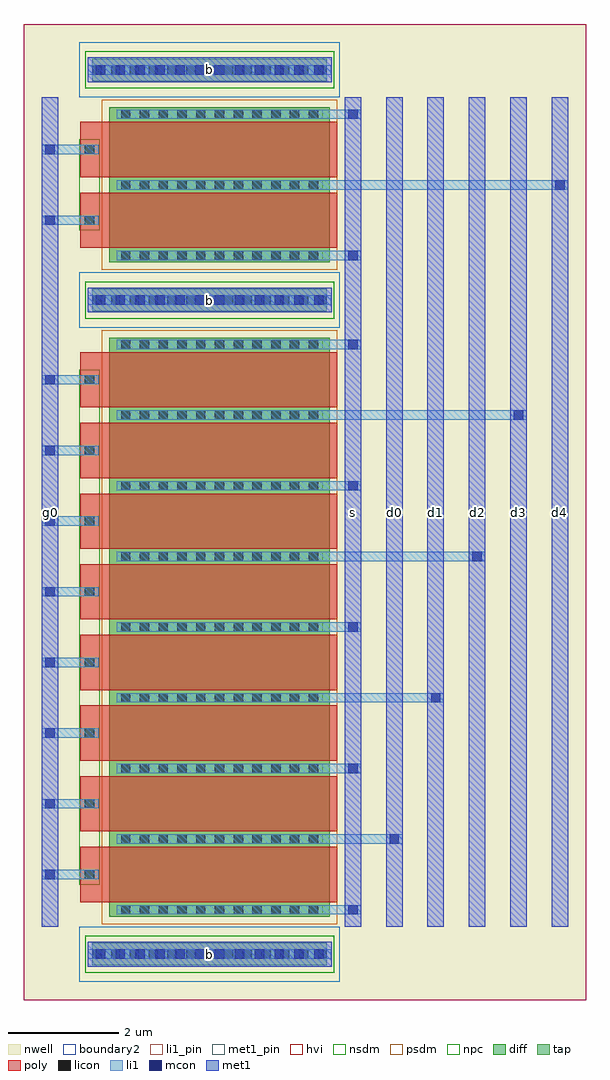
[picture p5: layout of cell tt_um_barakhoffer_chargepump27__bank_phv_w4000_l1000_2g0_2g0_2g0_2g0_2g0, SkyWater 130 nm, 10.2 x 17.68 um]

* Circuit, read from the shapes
.subckt tt_um_barakhoffer_chargepump27__bank_phv_w4000_l1000_2g0_2g0_2g0_2g0_2g0 b d0 d1 d2 d3 d4 g0 s
XM1 d0 g0 s b sky130_fd_pr__pfet_g5v0d10v5 w=4 l=1 m=2
XM2 d1 g0 s b sky130_fd_pr__pfet_g5v0d10v5 w=4 l=1 m=2
XM3 d2 g0 s b sky130_fd_pr__pfet_g5v0d10v5 w=4 l=1 m=2
XM4 d3 g0 s b sky130_fd_pr__pfet_g5v0d10v5 w=4 l=1 m=2
XM5 d4 g0 s b sky130_fd_pr__pfet_g5v0d10v5 w=4 l=1 m=2
.ends

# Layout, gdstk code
import gdstk
lib = gdstk.Library(unit=1e-6, precision=1e-09)
def R(c, l, rs):  # rectangles x0, y0, x1, y1
    for r in rs: c.add(gdstk.rectangle(r[:2], r[2:], *l))
def A(c, l, x, y, w, h, nx, ny, dx, dy):  # array of equal rectangles
    R(c, l, [(x+i*dx, y+j*dy, x+i*dx+w, y+j*dy+h) for i in range(nx) for j in range(ny)])
nwell = (64, 20)
diff = (65, 20)
tap = (65, 44)
poly = (66, 20)
licon = (66, 44)
li1_pin = (67, 16)
li1 = (67, 20)
mcon = (67, 44)
met1_pin = (68, 16)
met1 = (68, 20)
hvi = (75, 20)
nsdm = (93, 44)
psdm = (94, 20)
npc = (95, 20)
boundary2 = (236, 0)

tt_um_barakhoffer_charge = lib.new_cell('tt_um_barakhoffer_chargepump27__mos_9')
R(tt_um_barakhoffer_charge, nwell, [(-0.18,-0.18,4.18,10.67)])
A(tt_um_barakhoffer_charge, diff, 0.155, 0, 3.69, 0.25, 1, 9, 0, 1.28)
R(tt_um_barakhoffer_charge, diff, [(0,0,4,10.49)])
A(tt_um_barakhoffer_charge, poly, -0.52, 0.265, 0.33, 1, 1, 8, 0, 1.28)
A(tt_um_barakhoffer_charge, poly, -0.19, 0.265, 4.32, 1, 1, 8, 0, 1.28)
A(tt_um_barakhoffer_charge, poly, -0.52, 0.63, 0.33, 0.27, 1, 8, 0, 1.28)
A(tt_um_barakhoffer_charge, licon, 0.215, 0.04, 0.17, 0.17, 11, 9, 0.34, 1.28)
A(tt_um_barakhoffer_charge, licon, -0.44, 0.68, 0.17, 0.17, 1, 8, 0, 1.28)
A(tt_um_barakhoffer_charge, li1_pin, 0.135, 0.04, 3.73, 0.17, 1, 9, 0, 1.28)
A(tt_um_barakhoffer_charge, li1_pin, -0.52, 0.68, 0.33, 0.17, 1, 8, 0, 1.28)
R(tt_um_barakhoffer_charge, li1, [(0.135,0.04,3.865,0.21), (0.135,0.04,3.865,0.21), (-0.52,0.68,-0.19,0.85), (-0.52,0.68,-0.19,0.85), (0.135,1.32,3.865,1.49), (0.135,1.32,3.865,1.49), (-0.52,1.96,-0.19,2.13), (-0.52,1.96,-0.19,2.13), (0.135,2.6,3.865,2.77), (0.135,2.6,3.865,2.77), (-0.52,3.24,-0.19,3.41), (-0.52,3.24,-0.19,3.41), (0.135,3.88,3.865,4.05), (0.135,3.88,3.865,4.05), (-0.52,4.52,-0.19,4.69), (-0.52,4.52,-0.19,4.69), (0.135,5.16,3.865,5.33), (0.135,5.16,3.865,5.33), (-0.52,5.8,-0.19,5.97), (-0.52,5.8,-0.19,5.97), (0.135,6.44,3.865,6.61), (0.135,6.44,3.865,6.61), (-0.52,7.08,-0.19,7.25), (-0.52,7.08,-0.19,7.25), (0.135,7.72,3.865,7.89), (0.135,7.72,3.865,7.89), (-0.52,8.36,-0.19,8.53), (-0.52,8.36,-0.19,8.53), (0.135,9,3.865,9.17), (0.135,9,3.865,9.17), (-0.52,9.64,-0.19,9.81), (-0.52,9.64,-0.19,9.81), (0.135,10.28,3.865,10.45), (0.135,10.28,3.865,10.45)])
R(tt_um_barakhoffer_charge, hvi, [(-0.135,-0.135,4.135,10.625)])
R(tt_um_barakhoffer_charge, psdm, [(-0.135,-0.135,4.135,10.625)])
A(tt_um_barakhoffer_charge, npc, -0.54, 0.58, 0.37, 0.37, 1, 8, 0, 1.28)
R(tt_um_barakhoffer_charge, npc, [(-0.54,0.58,-0.17,9.91)])
tt_um_barakhoffer_charge.add(gdstk.Label('gate_5', (-0.355,7.165), layer=67, texttype=5))
tt_um_barakhoffer_charge.add(gdstk.Label('sd_0_2', (2,2.685), layer=67, texttype=5))
tt_um_barakhoffer_charge.add(gdstk.Label('sd_0_4', (2,5.245), layer=67, texttype=5))
tt_um_barakhoffer_charge.add(gdstk.Label('gate_2', (-0.355,3.325), layer=67, texttype=5))
tt_um_barakhoffer_charge.add(gdstk.Label('sd_0_5', (2,6.525), layer=67, texttype=5))
tt_um_barakhoffer_charge.add(gdstk.Label('gate_6', (-0.355,8.445), layer=67, texttype=5))
tt_um_barakhoffer_charge.add(gdstk.Label('gate_0', (-0.355,0.765), layer=67, texttype=5))
tt_um_barakhoffer_charge.add(gdstk.Label('sd_0_6', (2,7.805), layer=67, texttype=5))
tt_um_barakhoffer_charge.add(gdstk.Label('gate_3', (-0.355,4.605), layer=67, texttype=5))
tt_um_barakhoffer_charge.add(gdstk.Label('sd_0_7', (2,9.085), layer=67, texttype=5))
tt_um_barakhoffer_charge.add(gdstk.Label('gate_4', (-0.355,5.885), layer=67, texttype=5))
tt_um_barakhoffer_charge.add(gdstk.Label('gate_7', (-0.355,9.725), layer=67, texttype=5))
tt_um_barakhoffer_charge.add(gdstk.Label('sd_0_1', (2,1.405), layer=67, texttype=5))
tt_um_barakhoffer_charge.add(gdstk.Label('sd_0_8', (2,10.365), layer=67, texttype=5))
tt_um_barakhoffer_charge.add(gdstk.Label('sd_0_3', (2,3.965), layer=67, texttype=5))
tt_um_barakhoffer_charge.add(gdstk.Label('sd_0_0', (2,0.125), layer=67, texttype=5))
tt_um_barakhoffer_charge.add(gdstk.Label('gate_1', (-0.355,2.045), layer=67, texttype=5))

c_tt_um_barakhoffer_charge = lib.new_cell('tt_um_barakhoffer_chargepump27__mos_10')
R(c_tt_um_barakhoffer_charge, nwell, [(-0.18,-0.18,4.18,2.99)])
A(c_tt_um_barakhoffer_charge, diff, 0.155, 0, 3.69, 0.25, 1, 3, 0, 1.28)
R(c_tt_um_barakhoffer_charge, diff, [(0,0,4,2.81)])
R(c_tt_um_barakhoffer_charge, poly, [(-0.52,0.265,-0.19,1.265), (-0.19,0.265,4.13,1.265), (-0.52,0.63,-0.19,0.9), (-0.52,1.545,-0.19,2.545), (-0.19,1.545,4.13,2.545), (-0.52,1.91,-0.19,2.18)])
A(c_tt_um_barakhoffer_charge, licon, 0.215, 0.04, 0.17, 0.17, 11, 3, 0.34, 1.28)
R(c_tt_um_barakhoffer_charge, licon, [(-0.44,0.68,-0.27,0.85), (-0.44,1.96,-0.27,2.13)])
A(c_tt_um_barakhoffer_charge, li1_pin, 0.135, 0.04, 3.73, 0.17, 1, 3, 0, 1.28)
R(c_tt_um_barakhoffer_charge, li1_pin, [(-0.52,0.68,-0.19,0.85), (-0.52,1.96,-0.19,2.13)])
R(c_tt_um_barakhoffer_charge, li1, [(0.135,0.04,3.865,0.21), (0.135,0.04,3.865,0.21), (-0.52,0.68,-0.19,0.85), (-0.52,0.68,-0.19,0.85), (0.135,1.32,3.865,1.49), (0.135,1.32,3.865,1.49), (-0.52,1.96,-0.19,2.13), (-0.52,1.96,-0.19,2.13), (0.135,2.6,3.865,2.77), (0.135,2.6,3.865,2.77)])
R(c_tt_um_barakhoffer_charge, hvi, [(-0.135,-0.135,4.135,2.945)])
R(c_tt_um_barakhoffer_charge, psdm, [(-0.135,-0.135,4.135,2.945)])
R(c_tt_um_barakhoffer_charge, npc, [(-0.54,0.58,-0.17,0.95), (-0.54,0.58,-0.17,2.23), (-0.54,1.86,-0.17,2.23)])
c_tt_um_barakhoffer_charge.add(gdstk.Label('sd_0_0', (2,0.125), layer=67, texttype=5))
c_tt_um_barakhoffer_charge.add(gdstk.Label('gate_1', (-0.355,2.045), layer=67, texttype=5))
c_tt_um_barakhoffer_charge.add(gdstk.Label('sd_0_1', (2,1.405), layer=67, texttype=5))
c_tt_um_barakhoffer_charge.add(gdstk.Label('sd_0_2', (2,2.685), layer=67, texttype=5))
c_tt_um_barakhoffer_charge.add(gdstk.Label('gate_0', (-0.355,0.765), layer=67, texttype=5))

c_tt_um_barakhoffer_charge_ = lib.new_cell('tt_um_barakhoffer_chargepump27__bank_phv_w4000_l1000_2g0_2g0_2g0_2g0_2g0')
R(c_tt_um_barakhoffer_charge_, nwell, [(-1.01,-0.33,9.185,17.35)])
R(c_tt_um_barakhoffer_charge_, tap, [(0.235,0.295,4.485,0.705), (0.235,12.145,4.485,12.555), (0.235,16.315,4.485,16.725)])
A(c_tt_um_barakhoffer_charge_, licon, 0.235, 0.415, 0.17, 0.17, 13, 2, 0.34, 11.85)
A(c_tt_um_barakhoffer_charge_, licon, 0.235, 16.435, 0.17, 0.17, 13, 1, 0.34, 0)
A(c_tt_um_barakhoffer_charge_, li1, 0.675, 1.22, 4.43, 0.17, 1, 5, 0, 2.56)
A(c_tt_um_barakhoffer_charge_, li1, 4.87, 1.22, 0.17, 0.17, 1, 5, 0, 2.56)
A(c_tt_um_barakhoffer_charge_, li1, -0.68, 1.86, 1.03, 0.17, 1, 8, 0, 1.28)
A(c_tt_um_barakhoffer_charge_, li1, -0.615, 1.86, 0.17, 0.17, 1, 8, 0, 1.28)
R(c_tt_um_barakhoffer_charge_, li1, [(0.155,0.415,4.565,0.585), (0.295,0.415,4.425,0.585), (0.675,2.5,5.855,2.67), (5.62,2.5,5.79,2.67), (0.675,5.06,6.605,5.23), (6.37,5.06,6.54,5.23), (0.675,7.62,7.355,7.79), (7.12,7.62,7.29,7.79), (0.675,10.18,8.105,10.35), (7.87,10.18,8.04,10.35), (0.155,12.265,4.565,12.435), (0.295,12.265,4.425,12.435), (0.675,13.07,5.105,13.24), (4.87,13.07,5.04,13.24), (-0.68,13.71,0.35,13.88), (-0.615,13.71,-0.445,13.88), (0.675,14.35,8.855,14.52), (8.62,14.35,8.79,14.52), (-0.68,14.99,0.35,15.16), (-0.615,14.99,-0.445,15.16), (0.675,15.63,5.105,15.8), (4.87,15.63,5.04,15.8), (0.155,16.435,4.565,16.605), (0.295,16.435,4.425,16.605)])
A(c_tt_um_barakhoffer_charge_, mcon, 0.295, 0.415, 0.17, 0.17, 12, 2, 0.36, 11.85)
A(c_tt_um_barakhoffer_charge_, mcon, 4.87, 1.22, 0.17, 0.17, 1, 5, 0, 2.56)
A(c_tt_um_barakhoffer_charge_, mcon, -0.615, 1.86, 0.17, 0.17, 1, 8, 0, 1.28)
A(c_tt_um_barakhoffer_charge_, mcon, 0.295, 16.435, 0.17, 0.17, 12, 1, 0.36, 0)
R(c_tt_um_barakhoffer_charge_, mcon, [(5.62,2.5,5.79,2.67), (6.37,5.06,6.54,5.23), (7.12,7.62,7.29,7.79), (7.87,10.18,8.04,10.35), (4.87,13.07,5.04,13.24), (-0.615,13.71,-0.445,13.88), (8.62,14.35,8.79,14.52), (-0.615,14.99,-0.445,15.16), (4.87,15.63,5.04,15.8)])
A(c_tt_um_barakhoffer_charge_, met1_pin, 4.805, 1, 0.3, 15.02, 6, 1, 0.75, 0)
R(c_tt_um_barakhoffer_charge_, met1_pin, [(0.15,0.275,4.57,0.725), (-0.68,1,-0.38,16.02), (0.15,12.125,4.57,12.575), (0.15,16.295,4.57,16.745)])
A(c_tt_um_barakhoffer_charge_, met1, 4.81, 1.19, 0.29, 0.23, 1, 5, 0, 2.56)
A(c_tt_um_barakhoffer_charge_, met1, -0.675, 1.83, 0.29, 0.23, 1, 8, 0, 1.28)
R(c_tt_um_barakhoffer_charge_, met1, [(0.15,0.275,4.57,0.725), (0.15,0.275,4.57,0.725), (0.235,0.385,4.485,0.615), (-0.68,1,-0.38,16.02), (-0.68,1,-0.38,16.02), (4.805,1,5.105,16.02), (4.805,1,5.105,16.02), (5.555,1,5.855,16.02), (5.555,1,5.855,16.02), (6.305,1,6.605,16.02), (6.305,1,6.605,16.02), (7.055,1,7.355,16.02), (7.055,1,7.355,16.02), (7.805,1,8.105,16.02), (7.805,1,8.105,16.02), (8.555,1,8.855,16.02), (8.555,1,8.855,16.02), (5.56,2.47,5.85,2.7), (6.31,5.03,6.6,5.26), (7.06,7.59,7.35,7.82), (7.81,10.15,8.1,10.38), (0.15,12.125,4.57,12.575), (0.15,12.125,4.57,12.575), (0.235,12.235,4.485,12.465), (4.81,13.04,5.1,13.27), (-0.675,13.68,-0.385,13.91), (8.56,14.32,8.85,14.55), (-0.675,14.96,-0.385,15.19), (4.81,15.6,5.1,15.83), (0.15,16.295,4.57,16.745), (0.15,16.295,4.57,16.745), (0.235,16.405,4.485,16.635)])
R(c_tt_um_barakhoffer_charge_, hvi, [(-1.01,-0.33,9.185,17.35)])
R(c_tt_um_barakhoffer_charge_, nsdm, [(0.105,0.165,4.615,0.835), (0.105,12.015,4.615,12.685), (0.105,16.185,4.615,16.855)])
R(c_tt_um_barakhoffer_charge_, boundary2, [(0,0,4.72,1), (0,11.85,4.72,12.85), (0,16.02,4.72,17.02)])
c_tt_um_barakhoffer_charge_.add(gdstk.Reference(tt_um_barakhoffer_charge, (0.54,1.18)))
c_tt_um_barakhoffer_charge_.add(gdstk.Reference(c_tt_um_barakhoffer_charge, (0.54,13.03)))
c_tt_um_barakhoffer_charge_.add(gdstk.Label('d3', (7.955,8.51), layer=68, texttype=5))
c_tt_um_barakhoffer_charge_.add(gdstk.Label('b', (2.36,0.5), layer=68, texttype=5))
c_tt_um_barakhoffer_charge_.add(gdstk.Label('b', (2.36,12.35), layer=68, texttype=5))
c_tt_um_barakhoffer_charge_.add(gdstk.Label('b', (2.36,16.52), layer=68, texttype=5))
c_tt_um_barakhoffer_charge_.add(gdstk.Label('d1', (6.455,8.51), layer=68, texttype=5))
c_tt_um_barakhoffer_charge_.add(gdstk.Label('d2', (7.205,8.51), layer=68, texttype=5))
c_tt_um_barakhoffer_charge_.add(gdstk.Label('s', (4.955,8.51), layer=68, texttype=5))
c_tt_um_barakhoffer_charge_.add(gdstk.Label('g0', (-0.53,8.51), layer=68, texttype=5))
c_tt_um_barakhoffer_charge_.add(gdstk.Label('d4', (8.705,8.51), layer=68, texttype=5))
c_tt_um_barakhoffer_charge_.add(gdstk.Label('d0', (5.705,8.51), layer=68, texttype=5))

lib.write_gds('tt_um_barakhoffer_chargepump27__bank_phv_w4000_l1000_2g0_2g0_2g0_2g0_2g0.gds')
